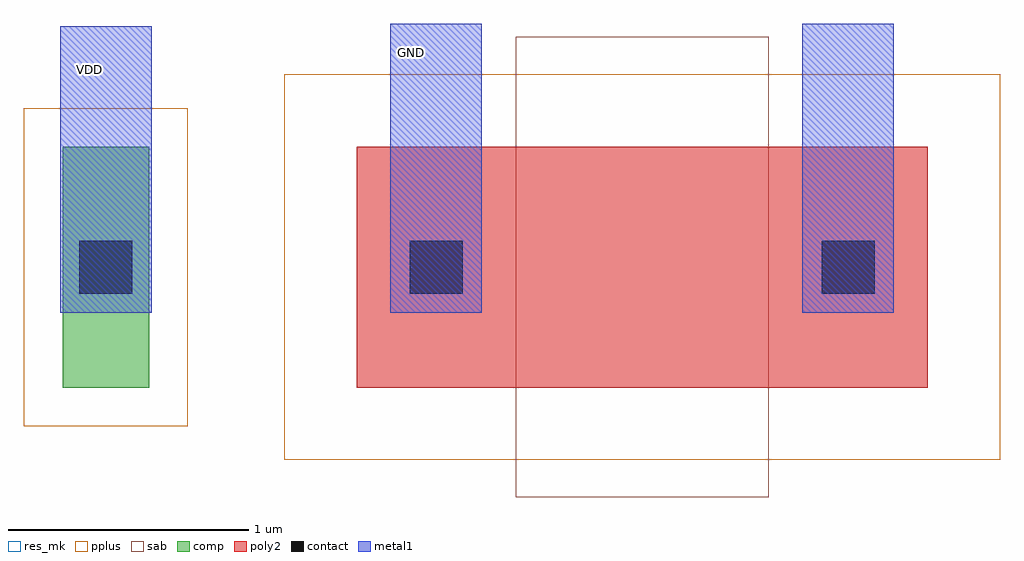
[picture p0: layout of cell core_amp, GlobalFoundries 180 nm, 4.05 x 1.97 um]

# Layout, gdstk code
import gdstk
lib = gdstk.Library(unit=1e-6, precision=5e-09)
def R(c, l, rs):  # rectangles x0, y0, x1, y1
    for r in rs: c.add(gdstk.rectangle(r[:2], r[2:], *l))
comp = (22, 0)
poly2 = (30, 0)
pplus = (31, 0)
contact = (33, 0)
metal1 = (34, 0)
sab = (49, 0)
res_mk = (110, 5)

ppolyf_u_resistor = lib.new_cell('ppolyf_u_resistor')
R(ppolyf_u_resistor, comp, [(-1.88,0,-1.52,1)])
R(ppolyf_u_resistor, poly2, [(-0.66,0,1.71,1)])
R(ppolyf_u_resistor, pplus, [(-0.96,-0.3,2.01,1.3), (-2.04,-0.16,-1.36,1.16)])
R(ppolyf_u_resistor, contact, [(-1.81,0.39,-1.59,0.61), (-0.44,0.39,-0.22,0.61), (1.27,0.39,1.49,0.61)])
R(ppolyf_u_resistor, metal1, [(-1.89,0.31,-1.51,0.69), (-0.52,0.31,-0.14,0.69), (1.19,0.31,1.57,0.69)])
R(ppolyf_u_resistor, sab, [(0,-0.455,1.05,1.455)])
R(ppolyf_u_resistor, res_mk, [(0,0,1.05,1)])

core_amp = lib.new_cell('core_amp')
R(core_amp, metal1, [(2.51,2.575,2.89,3.385), (3.88,2.575,4.26,3.395), (5.59,2.575,5.97,3.395)])
r = gdstk.Reference(ppolyf_u_resistor, (4.4,1.885)); r.repetition = gdstk.Repetition(1, 1, v1=(0,0), v2=(0,0)); core_amp.add(r)
core_amp.add(gdstk.Label('VDD', (2.63,3.205), layer=34, texttype=10))
core_amp.add(gdstk.Label('GND', (3.97,3.275), layer=34, texttype=10))

lib.write_gds('core_amp.gds')
